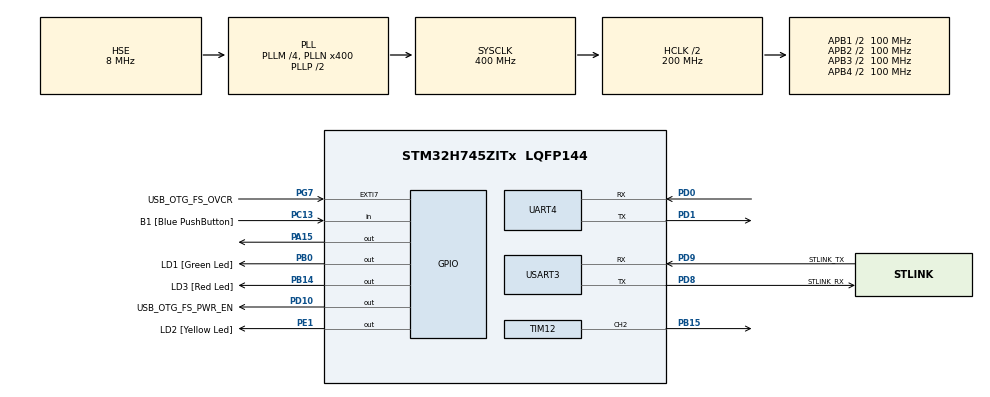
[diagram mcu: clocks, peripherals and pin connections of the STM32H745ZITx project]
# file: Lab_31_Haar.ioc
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CortexM4.IPs=FATFS_M4\:I,FREERTOS_M4\:I,IWDG2\:I,RCC,WWDG2\:I,DMA,BDMA,MDMA,NVIC2\:I,USART3,DEBUG,USB_DEVICE_M4\:I,USB_HOST_M4\:I,PDM2PCM_M4\:I,PWR,RESMGR_UTILITY,SYS_M4\:I,CORTEX_M4\:I,OPENAMP_M4\:I,VREFBUF,GPIO
CortexM7.IPs=FATFS_M7\:I,FREERTOS_M7\:I,IWDG1\:I,RCC\:I,WWDG1\:I,DMA\:I,BDMA\:I,MDMA\:I,NVIC1\:I,SYS\:I,USART3\:I,CORTEX_M7\:I,DEBUG\:I,USB_DEVICE_M7\:I,USB_HOST_M7\:I,PDM2PCM_M7\:I,PWR\:I,RESMGR_UTILITY\:I,OPENAMP_M7\:I,VREFBUF\:I,GPIO\:I,UART4\:I,TIM4\:I,TIM12\:I
CortexM7.Pins=PA15 (JTDI)
Mcu.Family=STM32H7
Mcu.Name=STM32H745ZITx
Mcu.Package=LQFP144
NVIC1.PriorityGroup=NVIC_PRIORITYGROUP_4
NVIC2.PriorityGroup=NVIC_PRIORITYGROUP_4
PA1.PinAttribute=CortexM4
PA1.Signal=ETH_REF_CLK
PA11.PinAttribute=CortexM7
PA11.Signal=USB_OTG_FS_DM
PA12.PinAttribute=CortexM7
PA12.Signal=USB_OTG_FS_DP
PA15\ (JTDI).GPIO_Speed=GPIO_SPEED_FREQ_VERY_HIGH
PA15\ (JTDI).PinAttribute=CortexM7
PA15\ (JTDI).Signal=GPIO_Output
PA2.PinAttribute=CortexM4
PA2.Signal=ETH_MDIO
PA7.PinAttribute=CortexM4
PA7.Signal=ETH_CRS_DV
PA8.PinAttribute=CortexM7
PA8.Signal=USB_OTG_FS_SOF
PA9.PinAttribute=CortexM7
PA9.Signal=USB_OTG_FS_VBUS
PB0.GPIO_Label=LD1 [Green Led]
PB0.PinAttribute=Free
PB0.Signal=GPIO_Output
PB13.PinAttribute=CortexM4
PB13.Signal=ETH_TXD1
PB14.GPIO_Label=LD3 [Red Led]
PB14.PinAttribute=Free
PB14.Signal=GPIO_Output
PB15.GPIO_PuPd=GPIO_NOPULL
PB15.GPIO_Speed=GPIO_SPEED_FREQ_VERY_HIGH
PB15.PinAttribute=CortexM7
PB15.Signal=S_TIM12_CH2
PB3\ (JTDO/TRACESWO).PinAttribute=CortexM7
PB3\ (JTDO/TRACESWO).Signal=SPI1_SCK
PC1.PinAttribute=CortexM4
PC1.Signal=ETH_MDC
PC13.GPIO_Label=B1 [Blue PushButton]
PC13.PinAttribute=Free
PC13.Signal=GPIO_Input
PC14-OSC32_IN\ (OSC32_IN).Mode=LSE-External-Oscillator
PC14-OSC32_IN\ (OSC32_IN).PinAttribute=CortexM7
PC14-OSC32_IN\ (OSC32_IN).Signal=RCC_OSC32_IN
PC15-OSC32_OUT\ (OSC32_OUT).Mode=LSE-External-Oscillator
PC15-OSC32_OUT\ (OSC32_OUT).PinAttribute=CortexM7
PC15-OSC32_OUT\ (OSC32_OUT).Signal=RCC_OSC32_OUT
PC4.PinAttribute=CortexM4
PC4.Signal=ETH_RXD0
PC5.PinAttribute=CortexM4
PC5.Signal=ETH_RXD1
PD0.Mode=Asynchronous
PD0.PinAttribute=CortexM7
PD0.Signal=UART4_RX
PD1.Mode=Asynchronous
PD1.PinAttribute=CortexM7
PD1.Signal=UART4_TX
PD10.GPIO_Label=USB_OTG_FS_PWR_EN
PD10.PinAttribute=Free
PD10.Signal=GPIO_Output
PD8.GPIO_Label=STLINK_RX
PD8.Mode=Asynchronous
PD8.PinAttribute=CortexM7
PD8.Signal=USART3_TX
PD9.GPIO_Label=STLINK_TX
PD9.Mode=Asynchronous
PD9.PinAttribute=CortexM7
PD9.Signal=USART3_RX
PE1.GPIO_Label=LD2 [Yellow Led]
PE1.PinAttribute=Free
PE1.Signal=GPIO_Output
PG11.PinAttribute=CortexM4
PG11.Signal=ETH_TX_EN
PG13.PinAttribute=CortexM4
PG13.Signal=ETH_TXD0
PG7.GPIO_Label=USB_OTG_FS_OVCR
PG7.PinAttribute=Free
PG7.Signal=GPXTI7
PH0-OSC_IN\ (PH0).Mode=HSE-External-Clock-Source
PH0-OSC_IN\ (PH0).PinAttribute=CortexM7
PH0-OSC_IN\ (PH0).Signal=RCC_OSC_IN
PH1-OSC_OUT\ (PH1).PinAttribute=CortexM7
PH1-OSC_OUT\ (PH1).Signal=RCC_OSC_OUT
ProjectManager.HeapSize=M4-0x200,M7-0x400
ProjectManager.StackSize=M4-0x400,M7-0x800
ProjectManager.TargetToolchain=STM32CubeIDE
RCC.ADCFreq_Value=16125000
RCC.APB1Freq_Value=100000000
RCC.APB2Freq_Value=100000000
RCC.APB3Freq_Value=100000000
RCC.APB4Freq_Value=100000000
RCC.CortexFreq_Value=400000000
RCC.D1PPRE=RCC_APB3_DIV2
RCC.D2PPRE1=RCC_APB1_DIV2
RCC.D2PPRE2=RCC_APB2_DIV2
RCC.D3PPRE=RCC_APB4_DIV2
RCC.DIVM1=4
RCC.DIVM3=1
RCC.DIVN1=400
RCC.DIVN3=18
RCC.DIVQ1=4
RCC.DIVQ3=3
RCC.HCLKFreq_Value=200000000
RCC.HPRE=RCC_HCLK_DIV2
RCC.HSE_VALUE=8000000
RCC.PLL1_VCI_Range-AdvancedSettings=RCC_PLL1VCIRANGE_0
RCC.PLL2FRACN=0
RCC.PLL2_VCI_Range-AdvancedSettings=RCC_PLL2VCIRANGE_0
RCC.PLL3FRACN=6144
RCC.PLL3_VCI_Range-AdvancedSettings=RCC_PLL3VCIRANGE_0
RCC.PLLFRACN=0
RCC.PLLSourceVirtual=RCC_PLLSOURCE_HSE
RCC.SYSCLKFreq_VALUE=400000000
RCC.SYSCLKSource=RCC_SYSCLKSOURCE_PLLCLK
RCC.SupplySource=PWR_DIRECT_SMPS_SUPPLY
RCC.USBCLockSelection=RCC_USBCLKSOURCE_PLL3
RCC.USBFreq_Value=50000000
SH.S_TIM12_CH2.0=TIM12_CH2,PWM Generation2 CH2
TIM12.AutoReloadPreload=TIM_AUTORELOAD_PRELOAD_ENABLE
TIM12.Channel-PWM\ Generation2\ CH2=TIM_CHANNEL_2
TIM12.Period=3703
TIM12.Prescaler=9
TIM12.Pulse-PWM\ Generation2\ CH2=1851
USART3.VirtualMode-Asynchronous=VM_ASYNC
VP_SYS_M4_VS_Systick.Mode=SysTick
VP_TIM12_VS_ClockSourceINT.Mode=Internal
board=NUCLEO-H745ZI-Q

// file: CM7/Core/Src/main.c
/* USER CODE BEGIN Header */
/**
  ******************************************************************************
  * @file           : main.c
  * @brief          : Main program body
  ******************************************************************************
  * @attention
  *
  * Copyright (c) 2025 STMicroelectronics.
  * All rights reserved.
  *
  * This software is licensed under terms that can be found in the LICENSE file
  * in the root directory of this software component.
  * If no LICENSE file comes with this software, it is provided AS-IS.
  *
  ******************************************************************************
  */
/* USER CODE END Header */
#include "main.h"

/* USER CODE BEGIN Includes */
#include <stdio.h>
#include <stdbool.h>
#include <stm32h7xx_hal_tim.h>
/* USER CODE END Includes */

/* USER CODE BEGIN PD */

#ifndef HSEM_ID_0
#define HSEM_ID_0 (0U) /* HW semaphore 0*/
#endif
/* USER CODE END PD */

TIM_HandleTypeDef htim12;

UART_HandleTypeDef huart4;
UART_HandleTypeDef huart3;

void SystemClock_Config(void);
static void MX_GPIO_Init(void);
static void MX_USART3_UART_Init(void);
static void MX_UART4_Init(void);
static void MX_TIM12_Init(void);
/* USER CODE BEGIN PFP */
#ifdef __GNUC__
/* With GCC/RAISONANCE, small printf (option LD Linker->Libraries->Small printf
   set to 'Yes') calls __io_putchar() */
#define PUTCHAR_PROTOTYPE int __io_putchar(int ch)
#else
#define PUTCHAR_PROTOTYPE int fputc(int ch, FILE *f)
#endif /* __GNUC__ */
/* USER CODE END PFP */

int main(void)
{
/* USER CODE BEGIN Boot_Mode_Sequence_0 */
  int32_t timeout;
/* USER CODE END Boot_Mode_Sequence_0 */

/* USER CODE BEGIN Boot_Mode_Sequence_1 */
  /* Wait until CPU2 boots and enters in stop mode or timeout*/
  timeout = 0xFFFF;
  while((__HAL_RCC_GET_FLAG(RCC_FLAG_D2CKRDY) != RESET) && (timeout-- > 0));
  if ( timeout < 0 )
  {
  Error_Handler();
  }
/* USER CODE END Boot_Mode_Sequence_1 */
  /* MCU Configuration--------------------------------------------------------*/

  /* Reset of all peripherals, Initializes the Flash interface and the Systick. */
  HAL_Init();

  /* Configure the system clock */
  SystemClock_Config();
/* USER CODE BEGIN Boot_Mode_Sequence_2 */
/* When system initialization is finished, Cortex-M7 will release Cortex-M4 by means of
HSEM notification */
/*HW semaphore Clock enable*/
__HAL_RCC_HSEM_CLK_ENABLE();
/*Take HSEM */
HAL_HSEM_FastTake(HSEM_ID_0);
/*Release HSEM in order to notify the CPU2(CM4)*/
HAL_HSEM_Release(HSEM_ID_0,0);
/* wait until CPU2 wakes up from stop mode */
timeout = 0xFFFF;
while((__HAL_RCC_GET_FLAG(RCC_FLAG_D2CKRDY) == RESET) && (timeout-- > 0));
if ( timeout < 0 )
{
Error_Handler();
}
/* USER CODE END Boot_Mode_Sequence_2 */

  /* Initialize all configured peripherals */
  MX_GPIO_Init();
  MX_USART3_UART_Init();
  MX_UART4_Init();
  MX_TIM12_Init();
  /* USER CODE BEGIN 2 */
  if (HAL_TIM_PWM_Start(&htim12, TIM_CHANNEL_2) != HAL_OK)
	{
	  /* PWM generation Error */
	  Error_Handler();
	}

  printf("start\r\n");

  uint8_t data[1];

  float freq0 = 5.4 * 1000;
  float PERIOD_VALUE12 = (uint32_t)(20000000/freq0 - 1);
  float PULSE_SCALE12 =  (uint32_t)(PERIOD_VALUE12/100.);
  __HAL_TIM_SET_COMPARE(&htim12, TIM_CHANNEL_2, PULSE_SCALE12 * 0.);
  /* USER CODE END 2 */

  /* Infinite loop */
  while (1)
  {

    /* USER CODE BEGIN 3 */
	HAL_StatusTypeDef status = HAL_UART_Receive(&huart4, data, 1, HAL_MAX_DELAY);
	if (status == HAL_OK) {
	  if (data[0] == 128) {
		  printf("data: %d\r\n", data[0]);
		  __HAL_TIM_SET_COMPARE(&htim12, TIM_CHANNEL_2, PULSE_SCALE12 * 50.);
	  }
	  if (data[0] == 129) {
		  printf("data: %d\r\n", data[0]);
		  __HAL_TIM_SET_COMPARE(&htim12, TIM_CHANNEL_2, PULSE_SCALE12 * 0.);
	  }
	}
  }
  /* USER CODE END 3 */
}

void SystemClock_Config(void)
{
  RCC_OscInitTypeDef RCC_OscInitStruct = {0};
  RCC_ClkInitTypeDef RCC_ClkInitStruct = {0};

  /** Supply configuration update enable
  */
  HAL_PWREx_ConfigSupply(PWR_DIRECT_SMPS_SUPPLY);

  /** Configure the main internal regulator output voltage
  */
  __HAL_PWR_VOLTAGESCALING_CONFIG(PWR_REGULATOR_VOLTAGE_SCALE1);

  while(!__HAL_PWR_GET_FLAG(PWR_FLAG_VOSRDY)) {}

  /** Initializes the RCC Oscillators according to the specified parameters
  * in the RCC_OscInitTypeDef structure.
  */
  RCC_OscInitStruct.OscillatorType = RCC_OSCILLATORTYPE_HSE;
  RCC_OscInitStruct.HSEState = RCC_HSE_BYPASS;
  RCC_OscInitStruct.PLL.PLLState = RCC_PLL_ON;
  RCC_OscInitStruct.PLL.PLLSource = RCC_PLLSOURCE_HSE;
  RCC_OscInitStruct.PLL.PLLM = 4;
  RCC_OscInitStruct.PLL.PLLN = 400;
  RCC_OscInitStruct.PLL.PLLP = 2;
  RCC_OscInitStruct.PLL.PLLQ = 4;
  RCC_OscInitStruct.PLL.PLLR = 2;
  RCC_OscInitStruct.PLL.PLLRGE = RCC_PLL1VCIRANGE_1;
  RCC_OscInitStruct.PLL.PLLVCOSEL = RCC_PLL1VCOWIDE;
  RCC_OscInitStruct.PLL.PLLFRACN = 0;
  if (HAL_RCC_OscConfig(&RCC_OscInitStruct) != HAL_OK)
  {
    Error_Handler();
  }

  /** Initializes the CPU, AHB and APB buses clocks
  */
  RCC_ClkInitStruct.ClockType = RCC_CLOCKTYPE_HCLK|RCC_CLOCKTYPE_SYSCLK
                              |RCC_CLOCKTYPE_PCLK1|RCC_CLOCKTYPE_PCLK2
                              |RCC_CLOCKTYPE_D3PCLK1|RCC_CLOCKTYPE_D1PCLK1;
  RCC_ClkInitStruct.SYSCLKSource = RCC_SYSCLKSOURCE_PLLCLK;
  RCC_ClkInitStruct.SYSCLKDivider = RCC_SYSCLK_DIV1;
  RCC_ClkInitStruct.AHBCLKDivider = RCC_HCLK_DIV2;
  RCC_ClkInitStruct.APB3CLKDivider = RCC_APB3_DIV2;
  RCC_ClkInitStruct.APB1CLKDivider = RCC_APB1_DIV2;
  RCC_ClkInitStruct.APB2CLKDivider = RCC_APB2_DIV2;
  RCC_ClkInitStruct.APB4CLKDivider = RCC_APB4_DIV2;

  if (HAL_RCC_ClockConfig(&RCC_ClkInitStruct, FLASH_LATENCY_2) != HAL_OK)
  {
    Error_Handler();
  }
}

static void MX_TIM12_Init(void)
{

  TIM_ClockConfigTypeDef sClockSourceConfig = {0};
  TIM_OC_InitTypeDef sConfigOC = {0};

  htim12.Instance = TIM12;
  htim12.Init.Prescaler = 9;
  htim12.Init.CounterMode = TIM_COUNTERMODE_UP;
  htim12.Init.Period = 3703;
  htim12.Init.ClockDivision = TIM_CLOCKDIVISION_DIV1;
  htim12.Init.AutoReloadPreload = TIM_AUTORELOAD_PRELOAD_ENABLE;
  if (HAL_TIM_Base_Init(&htim12) != HAL_OK)
  {
    Error_Handler();
  }
  sClockSourceConfig.ClockSource = TIM_CLOCKSOURCE_INTERNAL;
  if (HAL_TIM_ConfigClockSource(&htim12, &sClockSourceConfig) != HAL_OK)
  {
    Error_Handler();
  }
  if (HAL_TIM_PWM_Init(&htim12) != HAL_OK)
  {
    Error_Handler();
  }
  sConfigOC.OCMode = TIM_OCMODE_PWM1;
  sConfigOC.Pulse = 1851;
  sConfigOC.OCPolarity = TIM_OCPOLARITY_HIGH;
  sConfigOC.OCFastMode = TIM_OCFAST_DISABLE;
  if (HAL_TIM_PWM_ConfigChannel(&htim12, &sConfigOC, TIM_CHANNEL_2) != HAL_OK)
  {
    Error_Handler();
  }
  HAL_TIM_MspPostInit(&htim12);

}

static void MX_UART4_Init(void)
{

  huart4.Instance = UART4;
  huart4.Init.BaudRate = 115200;
  huart4.Init.WordLength = UART_WORDLENGTH_8B;
  huart4.Init.StopBits = UART_STOPBITS_1;
  huart4.Init.Parity = UART_PARITY_NONE;
  huart4.Init.Mode = UART_MODE_TX_RX;
  huart4.Init.HwFlowCtl = UART_HWCONTROL_NONE;
  huart4.Init.OverSampling = UART_OVERSAMPLING_16;
  huart4.Init.OneBitSampling = UART_ONE_BIT_SAMPLE_DISABLE;
  huart4.Init.ClockPrescaler = UART_PRESCALER_DIV1;
  huart4.AdvancedInit.AdvFeatureInit = UART_ADVFEATURE_NO_INIT;
  if (HAL_UART_Init(&huart4) != HAL_OK)
  {
    Error_Handler();
  }
  if (HAL_UARTEx_SetTxFifoThreshold(&huart4, UART_TXFIFO_THRESHOLD_1_8) != HAL_OK)
  {
    Error_Handler();
  }
  if (HAL_UARTEx_SetRxFifoThreshold(&huart4, UART_RXFIFO_THRESHOLD_1_8) != HAL_OK)
  {
    Error_Handler();
  }
  if (HAL_UARTEx_DisableFifoMode(&huart4) != HAL_OK)
  {
    Error_Handler();
  }

}

static void MX_USART3_UART_Init(void)
{

  huart3.Instance = USART3;
  huart3.Init.BaudRate = 115200;
  huart3.Init.WordLength = UART_WORDLENGTH_8B;
  huart3.Init.StopBits = UART_STOPBITS_1;
  huart3.Init.Parity = UART_PARITY_NONE;
  huart3.Init.Mode = UART_MODE_TX_RX;
  huart3.Init.HwFlowCtl = UART_HWCONTROL_NONE;
  huart3.Init.OverSampling = UART_OVERSAMPLING_16;
  huart3.Init.OneBitSampling = UART_ONE_BIT_SAMPLE_DISABLE;
  huart3.Init.ClockPrescaler = UART_PRESCALER_DIV1;
  huart3.AdvancedInit.AdvFeatureInit = UART_ADVFEATURE_NO_INIT;
  if (HAL_UART_Init(&huart3) != HAL_OK)
  {
    Error_Handler();
  }
  if (HAL_UARTEx_SetTxFifoThreshold(&huart3, UART_TXFIFO_THRESHOLD_1_8) != HAL_OK)
  {
    Error_Handler();
  }
  if (HAL_UARTEx_SetRxFifoThreshold(&huart3, UART_RXFIFO_THRESHOLD_1_8) != HAL_OK)
  {
    Error_Handler();
  }
  if (HAL_UARTEx_DisableFifoMode(&huart3) != HAL_OK)
  {
    Error_Handler();
  }

}

static void MX_GPIO_Init(void)
{
  GPIO_InitTypeDef GPIO_InitStruct = {0};

  /* GPIO Ports Clock Enable */
  __HAL_RCC_GPIOC_CLK_ENABLE();
  __HAL_RCC_GPIOH_CLK_ENABLE();
  __HAL_RCC_GPIOB_CLK_ENABLE();
  __HAL_RCC_GPIOD_CLK_ENABLE();
  __HAL_RCC_GPIOA_CLK_ENABLE();

  /*Configure GPIO pin Output Level */
  HAL_GPIO_WritePin(GPIOA, GPIO_PIN_15, GPIO_PIN_RESET);

  /*Configure GPIO pin : PA15 */
  GPIO_InitStruct.Pin = GPIO_PIN_15;
  GPIO_InitStruct.Mode = GPIO_MODE_OUTPUT_PP;
  GPIO_InitStruct.Pull = GPIO_NOPULL;
  GPIO_InitStruct.Speed = GPIO_SPEED_FREQ_VERY_HIGH;
  HAL_GPIO_Init(GPIOA, &GPIO_InitStruct);

}

/* USER CODE BEGIN 4 */
/**
  * @brief  Retargets the C library printf function to the USART.
  * @param  None
  * @retval None
  */
PUTCHAR_PROTOTYPE
{
  /* Place your implementation of fputc here */
  /* e.g. write a character to the USARTx and Loop until the end of transmission */
  HAL_UART_Transmit(&huart3, (uint8_t *)&ch, 1, HAL_MAX_DELAY);

  return ch;
}
/* USER CODE END 4 */

void Error_Handler(void)
{
  __disable_irq();
  while (1)
  {
  }
}
